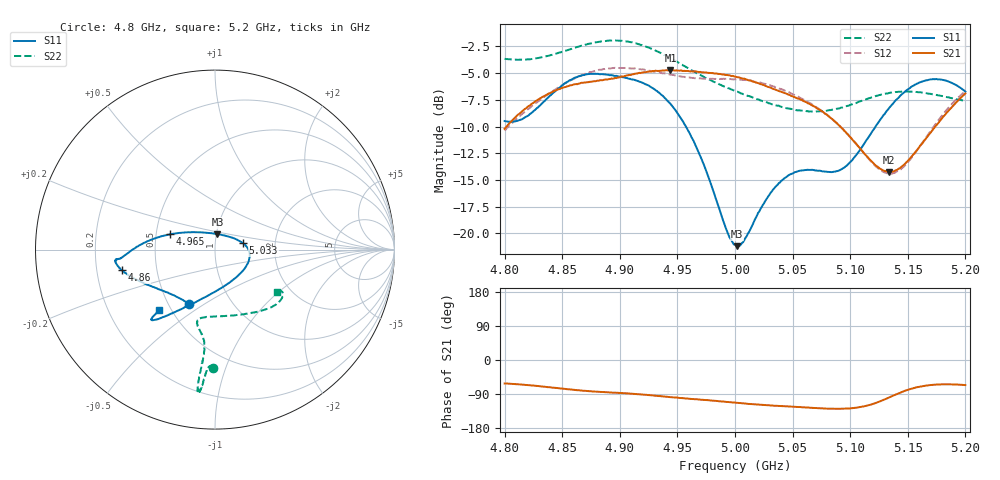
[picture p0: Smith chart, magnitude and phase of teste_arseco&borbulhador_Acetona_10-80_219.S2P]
! Network Analyzer HP8722D
! Hewlett-Packard
! Data name: Linha & Wilkinson
! Saver's name: Rodrigo Anjos
! Comments: Teste da utilização de aquisição
! continua pelo VNA HP8722D
! Time and date: 17/4/2025 16:11
!  Frequency  S11  S21  S12  S22
# HZ  S  MA R 50
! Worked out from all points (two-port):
!   401 points, 4.8 GHz to 5.2 GHz, reference 50 ohm
!   highest |S21| = -4.72 dB at 4.944 GHz (marker M1); lowest = -14.2 dB at 5.134 GHz (marker M2)
!   |S21| within 3 dB of the highest: 4.826 GHz to 5.062 GHz (236.3 MHz wide, 4.78 % of centre); 5.192216 GHz to end of sweep
!   lowest |S11| = -21.2 dB at 5.002 GHz (marker M3), VSWR 1.19, Z = 50.6 + j8.78 ohm
!   |S11| at or under -10 dB: 4.957 GHz to 5.122 GHz (164.5 MHz wide, 3.26 % of centre)
!   |S22| runs from -8.6 to -1.9 dB; largest |S21 - S12| = 0.87
!   S11 on the Smith chart (normalised r, x): 4.8 GHz: 0.63, -0.43; 4.86 GHz: 0.31, -0.10; 4.965 GHz: 0.59, +0.11; 5.033 GHz: 1.37, +0.10; 5.2 GHz: 0.43, -0.37
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4.8e9  0.3358 -115.9  0.3088 -61.9  0.3031 -176.1  0.6572 -91.1
4.819e9  0.3529 -136.2  0.3867 -65.9  0.3763 -175.5  0.6517 -92.7
4.86e9  0.5324 -167.6  0.4982 -78.6  0.5292 -178.7  0.7362 -95.2
4.867e9  0.549 -170.4  0.5075 -80.6  0.5497 179.8  0.7574 -95.3
4.9e9  0.5416 -174.5  0.5379 -86.8  0.594 173.7  0.798 -96.7
4.934e9  0.4563 179.7  0.5762 -95.2  0.5685 170.4  0.7057 -97.0
4.944e9  0.4041 175.2  0.5807 -98.0  0.5531 170.6  0.6626 -96.6
4.965e9  0.2639 161.2  0.5745 -103.5  0.5326 172.5  0.5696 -96.1
4.993e9  0.1028 114.3  0.5516 -110.7  0.5291 174.7  0.4809 -98.5
5e9  0.08842 88.9  0.5424 -112.5  0.5277 174.6  0.465 -100.1
5.002e9  0.08715 81.0  0.5385 -113.2  0.5263 174.7  0.4613 -100.4
5.009e9  0.09517 56.0  0.5273 -114.9  0.5228 174.5  0.4449 -101.8
5.033e9  0.1603 13.0  0.4749 -120.2  0.4875 173.3  0.4012 -103.5
5.048e9  0.1892 -1.5  0.4432 -122.7  0.4547 172.8  0.383 -99.5
5.067e9  0.1986 -21.7  0.3973 -126.2  0.4013 172.4  0.372 -88.9
5.096e9  0.2059 -72.2  0.2983 -128.2  0.2988 174.6  0.3935 -66.3
5.121e9  0.3101 -110.2  0.2107 -114.7  0.2093 -169.6  0.4373 -49.6
5.134e9  0.3878 -120.3  0.1941 -98.6  0.1902 -151.6  0.4546 -43.2
5.148e9  0.4637 -126.7  0.2129 -80.7  0.2092 -130.9  0.4617 -38.0
5.167e9  0.5214 -131.2  0.2834 -67.1  0.2866 -113.8  0.4523 -33.3
5.183e9  0.5197 -132.7  0.3629 -64.1  0.3752 -108.5  0.4351 -32.1
5.2e9  0.4604 -132.6  0.4517 -66.2  0.4633 -108.4  0.4163 -34.6
